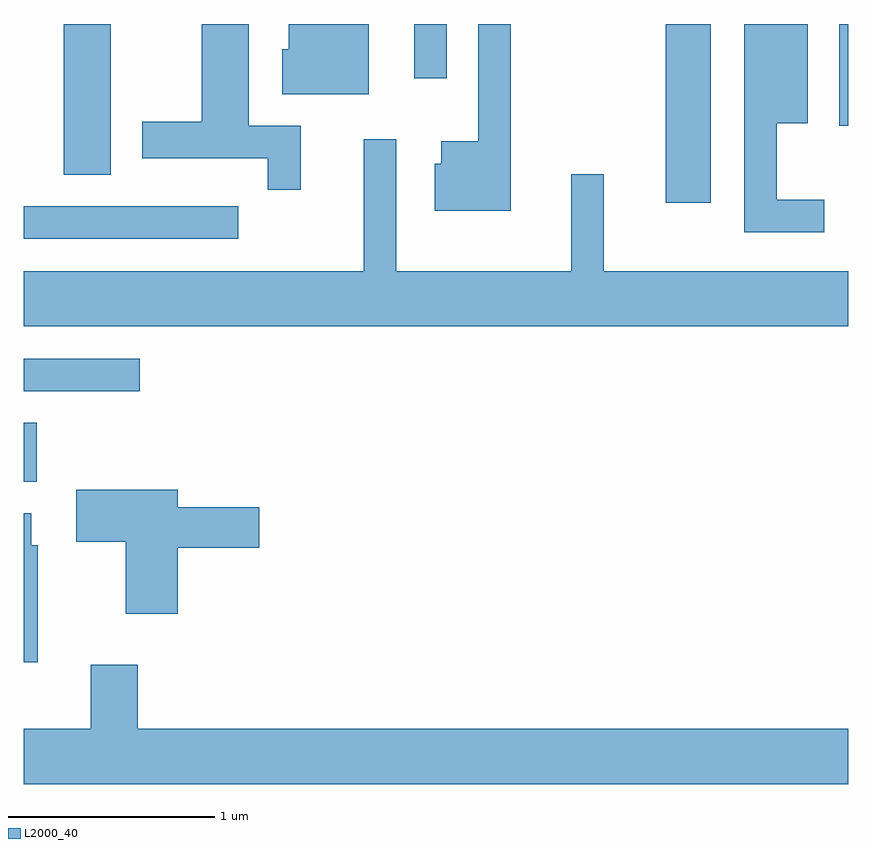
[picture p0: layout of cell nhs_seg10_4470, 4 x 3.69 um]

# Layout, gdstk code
import gdstk
lib = gdstk.Library(unit=1e-6, precision=1e-09)
def R(c, l, rs):  # rectangles x0, y0, x1, y1
    for r in rs: c.add(gdstk.rectangle(r[:2], r[2:], *l))
def P(c, l, *ps):  # polygons
    for p in ps: c.add(gdstk.Polygon(p, *l))
L2000_40 = (2000, 40)

nhs_seg10_4470 = lib.new_cell('nhs_seg10_4470')
R(nhs_seg10_4470, L2000_40, [(317.611,2084.301,317.674,2084.589), (317.611,2084.741,318.173,2084.899), (317.611,2085.481,318.653,2085.639), (320.726,2085.656,320.944,2086.522), (317.806,2085.791,318.034,2086.522), (321.566,2086.028,321.611,2086.522), (319.506,2086.258,319.664,2086.522)])
P(nhs_seg10_4470, L2000_40, [(318.954,2086.029),(318.704,2086.029),(318.704,2086.522),(318.476,2086.522),(318.476,2086.049),(318.186,2086.049),(318.186,2085.871),(318.796,2085.871),(318.796,2085.718),(318.954,2085.718)],
  [(319.974,2086.522),(319.816,2086.522),(319.816,2085.954),(319.636,2085.954),(319.636,2085.844),(319.606,2085.844),(319.606,2085.616),(319.974,2085.616)],
  [(319.284,2086.522),(318.896,2086.522),(318.896,2086.399),(318.866,2086.399),(318.866,2086.181),(319.284,2086.181)],
  [(321.493,2085.669),(321.264,2085.669),(321.264,2086.041),(321.414,2086.041),(321.414,2086.522),(321.106,2086.522),(321.106,2085.511),(321.493,2085.511)],
  [(321.611,2085.324),(320.424,2085.324),(320.424,2085.793),(320.266,2085.793),(320.266,2085.324),(319.419,2085.324),(319.419,2085.963),(319.261,2085.963),(319.261,2085.324),(317.611,2085.324),(317.611,2085.056),(321.611,2085.056)],
  [(318.359,2083.981),(318.754,2083.981),(318.754,2084.179),(318.359,2084.179),(318.359,2084.264),(317.866,2084.264),(317.866,2084.011),(318.106,2084.011),(318.106,2083.661),(318.359,2083.661)],
  [(317.679,2083.994),(317.649,2083.994),(317.649,2084.149),(317.611,2084.149),(317.611,2083.426),(317.679,2083.426)],
  [(321.611,2083.104),(318.164,2083.104),(318.164,2083.414),(317.936,2083.414),(317.936,2083.104),(317.611,2083.104),(317.611,2082.836),(321.611,2082.836)])

lib.write_gds('nhs_seg10_4470.gds')
